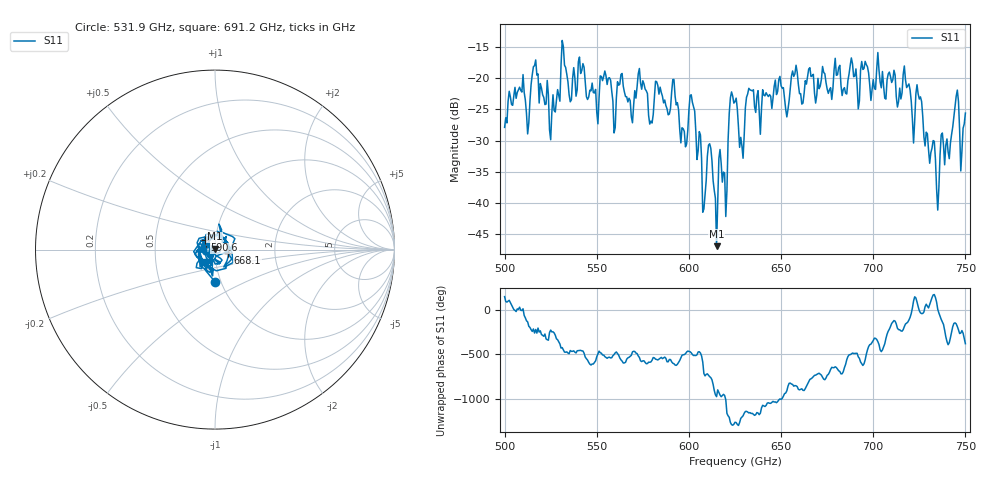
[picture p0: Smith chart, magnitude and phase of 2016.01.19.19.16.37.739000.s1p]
!Created with skrf (http://scikit-rf.org).
# GHz S RI R 50.0
!freq ReS11 ImS11
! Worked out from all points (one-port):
!   401 points, 500 GHz to 750 GHz, reference 50 ohm
!   lowest |S11| = -46.9 dB at 615 GHz (marker M1), VSWR 1.01, Z = 49.9 + j0.429 ohm
!   |S11| at or under -10 dB: start of sweep to end of sweep
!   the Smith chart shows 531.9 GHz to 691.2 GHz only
!   S11 on the Smith chart (normalised r, x): 531.9 GHz: 0.94, -0.34; 590.6 GHz: 0.89, +0.09; 668.1 GHz: 1.16, -0.04; 691.2 GHz: 0.89, -0.12
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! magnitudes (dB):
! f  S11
! 500 GHz  -27.9
! 512.5 GHz  -28.9
! 516.2 GHz  -18.0
! 525.6 GHz  -25.5
! 531.2 GHz  -14.0
! 531.9 GHz  -15.0
! 559.4 GHz  -28.8
! 562.5 GHz  -21.0
! 579.4 GHz  -26.9
! 590.6 GHz  -22.3
! 593.8 GHz  -23.9
! 598.1 GHz  -31.0
! 601.9 GHz  -23.9
! 608.1 GHz  -40.9
! 611.2 GHz  -30.5
! 615 GHz  -46.9
! 619.4 GHz  -35.2
! 625 GHz  -23.8
! 628.8 GHz  -30.8
! 632.5 GHz  -21.6
! 656.2 GHz  -18.9
! 668.1 GHz  -22.4
! 687.5 GHz  -18.0
! 691.2 GHz  -21.1
! 718.8 GHz  -21.2
! 735 GHz  -41.1
! 745 GHz  -22.9
! 750 GHz  -25.6
